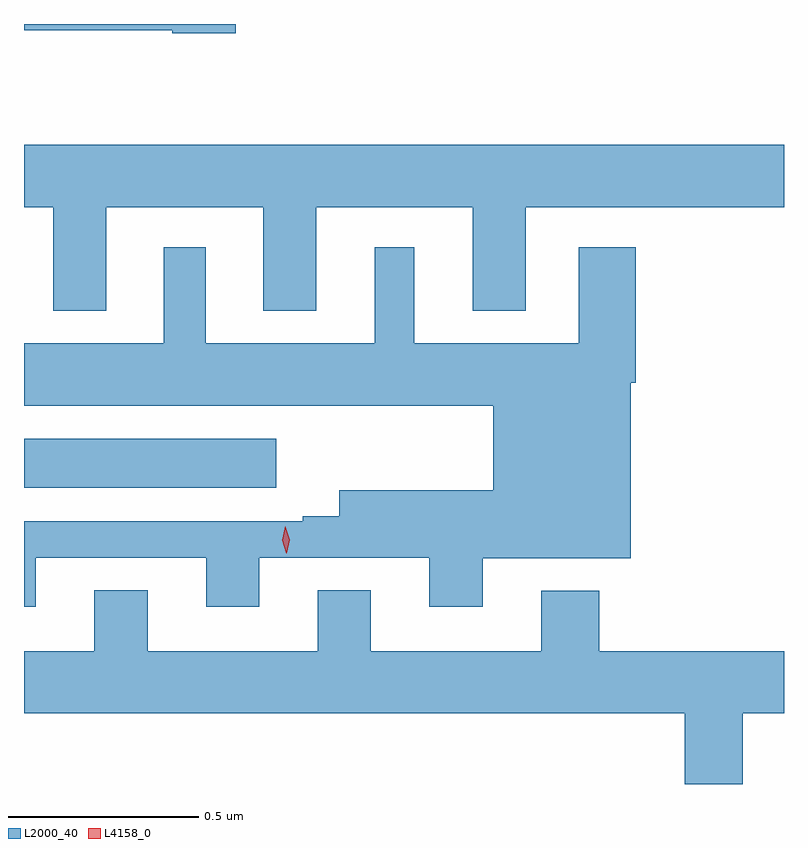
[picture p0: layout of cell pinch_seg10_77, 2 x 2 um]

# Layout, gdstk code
import gdstk
lib = gdstk.Library(unit=1e-6, precision=1e-09)
def R(c, l, rs):  # rectangles x0, y0, x1, y1
    for r in rs: c.add(gdstk.rectangle(r[:2], r[2:], *l))
def P(c, l, *ps):  # polygons
    for p in ps: c.add(gdstk.Polygon(p, *l))
L2000_40 = (2000, 40)
L4158_0 = (4158, 0)

pinch_seg10_77 = lib.new_cell('pinch_seg10_77')
R(pinch_seg10_77, L2000_40, [(814.308,1318.226,814.972,1318.354)])
P(pinch_seg10_77, L2000_40, [(814.865,1319.446),(814.308,1319.446),(814.308,1319.43),(814.698,1319.43),(814.698,1319.422),(814.865,1319.422)],
  [(814.525,1318.964),(814.937,1318.964),(814.937,1318.691),(815.077,1318.691),(815.077,1318.964),(815.489,1318.964),(815.489,1318.691),(815.629,1318.691),(815.629,1318.964),(816.308,1318.964),(816.308,1319.128),(814.308,1319.128),(814.308,1318.964),(814.385,1318.964),(814.385,1318.691),(814.525,1318.691)],
  [(814.339,1318.041),(814.787,1318.041),(814.787,1317.912),(814.927,1317.912),(814.927,1318.041),(815.375,1318.041),(815.375,1317.912),(815.515,1317.912),(815.515,1318.04),(815.905,1318.04),(815.905,1318.502),(815.918,1318.502),(815.918,1318.858),(815.768,1318.858),(815.768,1318.606),(815.335,1318.606),(815.335,1318.858),(815.231,1318.858),(815.231,1318.606),(814.786,1318.606),(814.786,1318.858),(814.676,1318.858),(814.676,1318.606),(814.308,1318.606),(814.308,1318.442),(815.543,1318.442),(815.543,1318.219),(815.138,1318.219),(815.138,1318.15),(815.042,1318.15),(815.042,1318.137),(814.308,1318.137),(814.308,1317.912),(814.339,1317.912)],
  [(816.199,1317.632),(816.308,1317.632),(816.308,1317.796),(815.822,1317.796),(815.822,1317.955),(815.669,1317.955),(815.669,1317.796),(815.221,1317.796),(815.221,1317.956),(815.081,1317.956),(815.081,1317.796),(814.633,1317.796),(814.633,1317.956),(814.493,1317.956),(814.493,1317.796),(814.308,1317.796),(814.308,1317.632),(816.047,1317.632),(816.047,1317.446),(816.199,1317.446)])
P(pinch_seg10_77, L4158_0, [(814.998,1318.053),(814.987,1318.088),(814.996,1318.124),(814.996,1318.124),(814.996,1318.124),(815.007,1318.089),(814.999,1318.053),(814.999,1318.053)])

lib.write_gds('pinch_seg10_77.gds')
